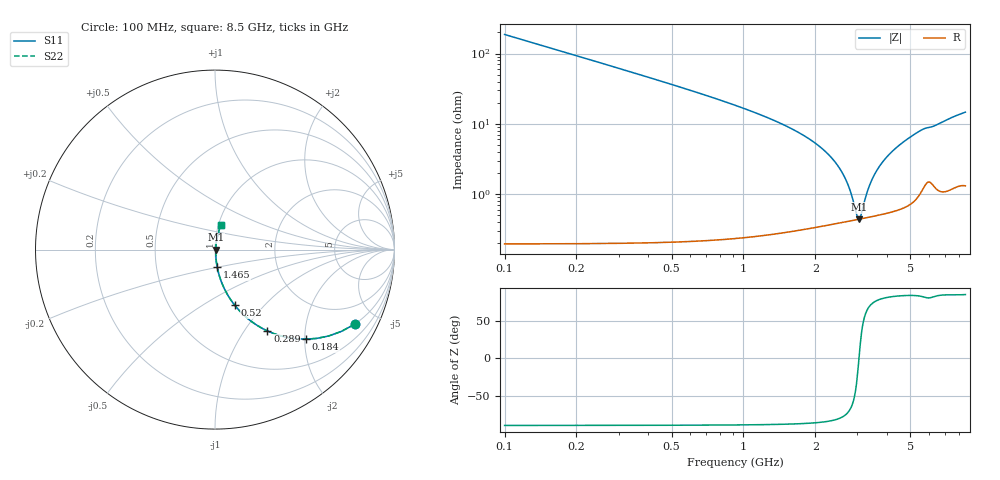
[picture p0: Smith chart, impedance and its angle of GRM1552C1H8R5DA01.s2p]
!Murata Part Number: GRM1552C1H8R5DA01
!These Parameters are Measured in Series Mode Connection
!Data Generated on Mar 30, 2021
!  o--ll--o
!Port1  Port2
!  o------o
!Operation Temp=25[degC], DC Bias Voltage=0[V]
!Freq. Start=100[MHz] Stop=9[GHz] 401[Steps]
# Hz S RI R 50
!Freq.(Hz) S11(Real) S11(Imag) S21(Real) S21(Imag) S12(Real) S12(Imag) S22(Real) S22(Imag)
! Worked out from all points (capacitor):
!   401 points, 100 MHz to 8.5 GHz, reference 50 ohm
!   read as one part in series: C = 8.5 pF near 142 MHz
!   lowest |Z| = 439 mohm at 3.04 GHz (marker M1)
!   series resonance near 3.047 GHz, so ESL is about 320 pH
!   S11 on the Smith chart (normalised r, x): 100 MHz: 1.00, -3.74; 184 MHz: 1.00, -2.03; 289 MHz: 1.00, -1.28; 520 MHz: 1.00, -0.70; 1.465 GHz: 1.01, -0.20; 8.5 GHz: 1.03, +0.29
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1e8  0.7774 -0.4154  0.2226 0.4154  0.2226 0.4154  0.7774 -0.4154
1.84e8  0.5068 -0.499  0.4932 0.499  0.4932 0.499  0.5068 -0.499
2.89e8  0.2924 -0.4533  0.7076 0.4533  0.7076 0.4533  0.2924 -0.4533
3.94e8  0.1802 -0.3822  0.8198 0.3822  0.8198 0.3822  0.1802 -0.3822
5.2e8  0.1102 -0.3102  0.8898 0.3102  0.8898 0.3102  0.1102 -0.3102
8.98e8  0.0369 -0.1826  0.9631 0.1826  0.9631 0.1826  0.0369 -0.1826
1.465e9  0.0122 -0.0964  0.9878 0.0964  0.9878 0.0964  0.0122 -0.0964
1.507e9  0.0114 -0.0921  0.9886 0.0921  0.9886 0.0921  0.0114 -0.0921
2.074e9  0.0057 -0.0477  0.9943 0.0477  0.9943 0.0477  0.0057 -0.0477
2.452e9  0.0045 -0.0265  0.9955 0.0265  0.9955 0.0265  0.0045 -0.0265
2.704e9  0.00425 -0.0145  0.9957 0.0145  0.9957 0.0145  0.00425 -0.0145
2.914e9  0.00427 -0.00541  0.9957 0.00541  0.9957 0.00541  0.00427 -0.00541
2.998e9  0.00433 -0.00197  0.9957 0.00197  0.9957 0.00197  0.00433 -0.00197
3.04e9  0.00437 -0.000284  0.9956 0.000284  0.9956 0.000284  0.00437 -0.000284
3.103e9  0.00443 0.0022  0.9956 -0.0022  0.9956 -0.0022  0.00443 0.0022
3.334e9  0.00477 0.0109  0.9952 -0.0109  0.9952 -0.0109  0.00477 0.0109
3.544e9  0.00519 0.0184  0.9948 -0.0184  0.9948 -0.0184  0.00519 0.0184
3.859e9  0.00601 0.0289  0.994 -0.0289  0.994 -0.0289  0.00601 0.0289
4.3e9  0.00753 0.0428  0.9925 -0.0428  0.9925 -0.0428  0.00753 0.0428
5.707e9  0.0192 0.0816  0.9808 -0.0816  0.9808 -0.0816  0.0192 0.0816
7.114e9  0.0233 0.1102  0.9767 -0.1102  0.9767 -0.1102  0.0233 0.1102
8.5e9  0.0331 0.1396  0.9669 -0.1396  0.9669 -0.1396  0.0331 0.1396
